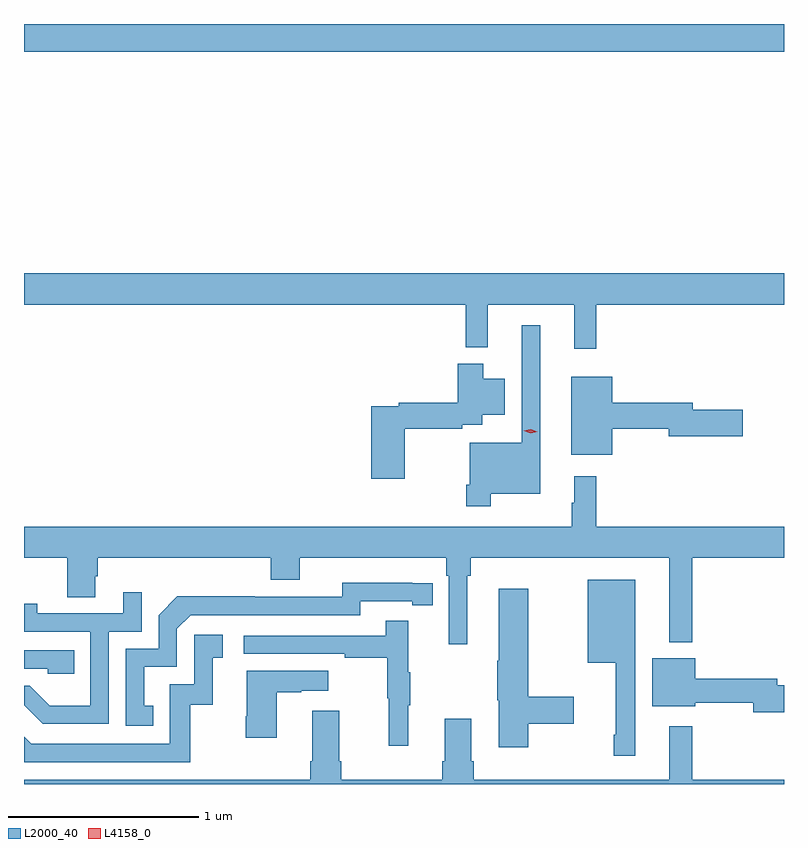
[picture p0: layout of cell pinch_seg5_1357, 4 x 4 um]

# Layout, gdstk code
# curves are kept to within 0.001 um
import gdstk
lib = gdstk.Library(unit=1e-6, precision=1e-09)
def R(c, l, rs):  # rectangles x0, y0, x1, y1
    for r in rs: c.add(gdstk.rectangle(r[:2], r[2:], *l))
def P(c, l, *ps):  # polygons
    for p in ps: c.add(gdstk.Polygon(p, *l))
L2000_40 = (2000, 40)
L4158_0 = (4158, 0)

pinch_seg5_1357 = lib.new_cell('pinch_seg5_1357')
R(pinch_seg5_1357, L2000_40, [(203.909,903.38,207.909,903.525)])
P(pinch_seg5_1357, L2000_40, [(206.921,902.048),(207.909,902.048),(207.909,902.212),(203.909,902.212),(203.909,902.048),(206.233,902.048),(206.233,901.823),(206.351,901.823),(206.351,902.048),(206.804,902.048),(206.804,901.815),(206.921,901.815)],
  [(206.365,901.052),(206.626,901.052),(206.626,901.939),(206.529,901.939),(206.529,901.321),(206.256,901.321),(206.256,901.099),(206.236,901.099),(206.236,900.987),(206.365,900.987)],
  [(205.914,901.396),(206.216,901.396),(206.216,901.416),(206.32,901.416),(206.32,901.469),(206.44,901.469),(206.44,901.657),(206.326,901.657),(206.326,901.738),(206.192,901.738),(206.192,901.532),(205.882,901.532),(205.882,901.512),(205.736,901.512),(205.736,901.131),(205.914,901.131)],
  [(207.004,901.396),(207.302,901.396),(207.302,901.354),(207.691,901.354),(207.691,901.496),(207.43,901.496),(207.43,901.532),(207.004,901.532),(207.004,901.669),(206.789,901.669),(206.789,901.259),(207.004,901.259)],
  [(206.242,900.62),(206.261,900.62),(206.261,900.716),(207.305,900.716),(207.305,900.272),(207.427,900.272),(207.427,900.716),(207.909,900.716),(207.909,900.88),(206.921,900.88),(206.921,901.144),(206.804,901.144),(206.804,901.004),(206.793,901.004),(206.793,900.88),(203.909,900.88),(203.909,900.716),(204.136,900.716),(204.136,900.508),(204.283,900.508),(204.283,900.618),(204.296,900.618),(204.296,900.716),(205.208,900.716),(205.208,900.599),(205.36,900.599),(205.36,900.716),(206.132,900.716),(206.132,900.62),(206.145,900.62),(206.145,900.261),(206.242,900.261)],
  [(207.127,900.601),(206.876,900.601),(206.876,900.164),(207.023,900.164),(207.023,899.785),(207.013,899.785),(207.013,899.673),(207.127,899.673)],
  [(204.59,899.937),(204.541,899.937),(204.541,900.141),(204.714,900.141),(204.714,900.342),(204.786,900.414),(205.68,900.414),(205.68,900.486),(205.952,900.486),(205.952,900.466),(206.06,900.466),(206.06,900.582),(205.584,900.583),(205.584,900.51),(205.124,900.51),(205.124,900.512),(204.716,900.512),(204.618,900.414),(204.618,900.237),(204.444,900.237),(204.444,899.832),(204.59,899.832)],
  [(206.562,899.842),(206.803,899.842),(206.803,899.984),(206.562,899.984),(206.562,900.553),(206.408,900.553),(206.408,900.173),(206.401,900.173),(206.401,899.967),(206.408,899.967),(206.408,899.718),(206.562,899.718)],
  [(204.354,900.327),(204.528,900.327),(204.528,900.535),(204.431,900.535),(204.431,900.423),(203.98,900.423),(203.98,900.475),(203.909,900.475),(203.909,900.327),(204.258,900.327),(204.258,899.938),(204.044,899.938),(203.94,900.042),(203.909,900.042),(203.909,899.94),(204.008,899.841),(204.354,899.841)],
  [(205.931,899.939),(205.942,899.939),(205.942,900.113),(205.931,900.113),(205.931,900.385),(205.813,900.385),(205.813,900.306),(205.065,900.306),(205.065,900.21),(205.597,900.21),(205.597,900.19),(205.821,900.19),(205.821,899.976),(205.828,899.976),(205.828,899.727),(205.931,899.727)],
  [(204.784,899.943),(204.902,899.943),(204.902,900.189),(204.955,900.189),(204.955,900.31),(204.804,900.31),(204.804,900.051),(204.675,900.051),(204.675,899.736),(203.946,899.736),(203.909,899.773),(203.909,899.64),(204.784,899.64)],
  [(204.173,900.228),(203.909,900.228),(203.909,900.132),(204.033,900.132),(204.033,900.105),(204.173,900.105)],
  [(207.909,900.044),(207.874,900.044),(207.874,900.08),(207.442,900.08),(207.442,900.187),(207.215,900.187),(207.215,899.933),(207.442,899.933),(207.442,899.952),(207.746,899.952),(207.746,899.902),(207.909,899.902)],
  [(205.24,900.007),(205.367,900.007),(205.367,900.017),(205.51,900.017),(205.51,900.121),(205.082,900.121),(205.082,899.881),(205.075,899.881),(205.075,899.769),(205.24,899.769)],
  [(207.909,899.548),(207.427,899.548),(207.427,899.83),(207.305,899.83),(207.305,899.548),(206.276,899.548),(206.276,899.644),(206.263,899.644),(206.263,899.869),(206.123,899.869),(206.123,899.644),(206.111,899.644),(206.111,899.548),(205.58,899.548),(205.58,899.644),(205.567,899.644),(205.567,899.911),(205.427,899.911),(205.427,899.644),(205.415,899.644),(205.415,899.548),(203.909,899.548),(203.909,899.525),(207.909,899.525)])
P(pinch_seg5_1357, L4158_0, [(206.575,901.372),(206.539,901.383),(206.539,901.383),(206.539,901.384),(206.576,901.392),(206.611,901.38),(206.611,901.38),(206.611,901.38)])

lib.write_gds('pinch_seg5_1357.gds')
